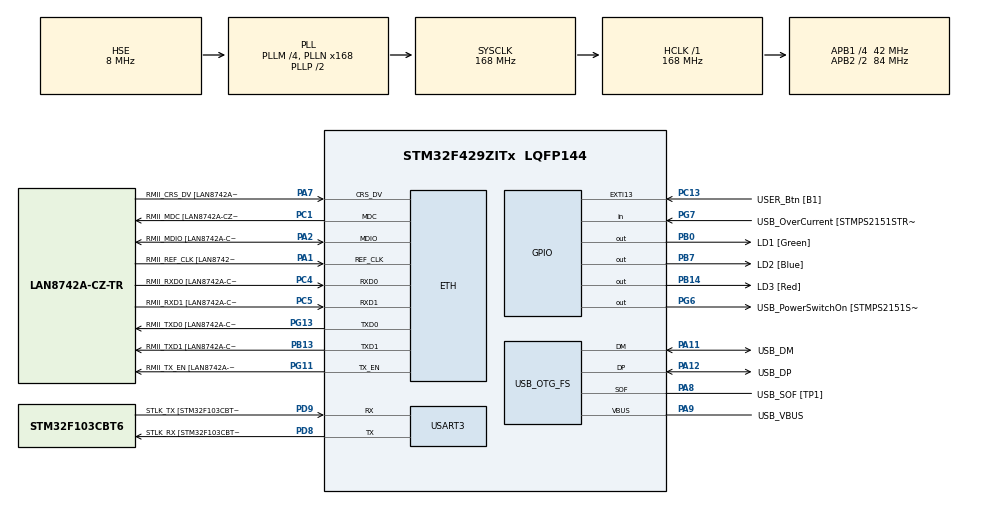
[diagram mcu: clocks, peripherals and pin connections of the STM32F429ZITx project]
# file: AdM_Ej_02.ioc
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ETH.MediaInterface=HAL_ETH_RMII_MODE
ETH.PHY_Name=LAN8742A_PHY_ADDRESS
ETH.PHY_Value=0
ETH.PhyAddress=0
Mcu.Family=STM32F4
Mcu.Name=STM32F429ZITx
Mcu.Package=LQFP144
NVIC.PriorityGroup=NVIC_PRIORITYGROUP_4
PA1.GPIO_Label=RMII_REF_CLK [LAN8742A-CZ-TR_REFCLK0]
PA1.Mode=RMII
PA1.Signal=ETH_REF_CLK
PA10.GPIO_Label=USB_ID
PA10.Signal=USB_OTG_FS_ID
PA11.GPIO_Label=USB_DM
PA11.Mode=Device_Only
PA11.Signal=USB_OTG_FS_DM
PA12.GPIO_Label=USB_DP
PA12.Mode=Device_Only
PA12.Signal=USB_OTG_FS_DP
PA13.GPIO_Label=TMS
PA13.Mode=Serial_Wire
PA13.Signal=SYS_JTMS-SWDIO
PA14.GPIO_Label=TCK
PA14.Mode=Serial_Wire
PA14.Signal=SYS_JTCK-SWCLK
PA2.GPIO_Label=RMII_MDIO [LAN8742A-CZ-TR_MDIO]
PA2.Mode=RMII
PA2.Signal=ETH_MDIO
PA7.GPIO_Label=RMII_CRS_DV [LAN8742A-CZ-TR_CRS_DV]
PA7.Mode=RMII
PA7.Signal=ETH_CRS_DV
PA8.GPIO_Label=USB_SOF [TP1]
PA8.Mode=Activate_SOF_FS
PA8.Signal=USB_OTG_FS_SOF
PA9.GPIO_Label=USB_VBUS
PA9.Mode=Activate_VBUS
PA9.Signal=USB_OTG_FS_VBUS
PB0.GPIO_Label=LD1 [Green]
PB0.Signal=GPIO_Output
PB13.GPIO_Label=RMII_TXD1 [LAN8742A-CZ-TR_TXD1]
PB13.Mode=RMII
PB13.Signal=ETH_TXD1
PB14.GPIO_Label=LD3 [Red]
PB14.Signal=GPIO_Output
PB7.GPIO_Label=LD2 [Blue]
PB7.Signal=GPIO_Output
PC1.GPIO_Label=RMII_MDC [LAN8742A-CZ-TR_MDC]
PC1.Mode=RMII
PC1.Signal=ETH_MDC
PC13.GPIO_Label=USER_Btn [B1]
PC13.Signal=GPXTI13
PC14/OSC32_IN.Mode=LSE-External-Oscillator
PC14/OSC32_IN.Signal=RCC_OSC32_IN
PC15/OSC32_OUT.Mode=LSE-External-Oscillator
PC15/OSC32_OUT.Signal=RCC_OSC32_OUT
PC4.GPIO_Label=RMII_RXD0 [LAN8742A-CZ-TR_RXD0]
PC4.Mode=RMII
PC4.Signal=ETH_RXD0
PC5.GPIO_Label=RMII_RXD1 [LAN8742A-CZ-TR_RXD1]
PC5.Mode=RMII
PC5.Signal=ETH_RXD1
PD8.GPIO_Label=STLK_RX [STM32F103CBT6_PA3]
PD8.Mode=Asynchronous
PD8.Signal=USART3_TX
PD9.GPIO_Label=STLK_TX [STM32F103CBT6_PA2]
PD9.Mode=Asynchronous
PD9.Signal=USART3_RX
PG11.GPIO_Label=RMII_TX_EN [LAN8742A-CZ-TR_TXEN]
PG11.Mode=RMII
PG11.Signal=ETH_TX_EN
PG13.GPIO_Label=RMII_TXD0 [LAN8742A-CZ-TR_TXD0]
PG13.Mode=RMII
PG13.Signal=ETH_TXD0
PG6.GPIO_Label=USB_PowerSwitchOn [STMPS2151STR_EN]
PG6.Signal=GPIO_Output
PG7.GPIO_Label=USB_OverCurrent [STMPS2151STR_FAULT]
PG7.Signal=GPIO_Input
PH0/OSC_IN.GPIO_Label=MCO [STM32F103CBT6_PA8]
PH0/OSC_IN.Mode=HSE-External-Clock-Source
PH0/OSC_IN.Signal=RCC_OSC_IN
PH1/OSC_OUT.Mode=HSE-External-Clock-Source
PH1/OSC_OUT.Signal=RCC_OSC_OUT
ProjectManager.HeapSize=0x200
ProjectManager.StackSize=0x400
ProjectManager.TargetToolchain=STM32CubeIDE
RCC.48MHZClocksFreq_Value=48000000
RCC.AHBFreq_Value=168000000
RCC.APB1CLKDivider=RCC_HCLK_DIV4
RCC.APB1Freq_Value=42000000
RCC.APB1TimFreq_Value=84000000
RCC.APB2CLKDivider=RCC_HCLK_DIV2
RCC.APB2Freq_Value=84000000
RCC.APB2TimCLKDivider=2
RCC.APB2TimFreq_Value=168000000
RCC.CortexFreq_Value=168000000
RCC.HCLKFreq_Value=168000000
RCC.HSE_VALUE=8000000
RCC.HSI_VALUE=16000000
RCC.PLLM=4
RCC.PLLMUL=RCC_PLL_MUL9
RCC.PLLN=168
RCC.PLLQ=7
RCC.PRESCALERUSB=RCC_USBCLKSOURCE_PLL_DIV1_5
RCC.SYSCLKFreq_VALUE=168000000
RCC.SYSCLKSource=RCC_SYSCLKSOURCE_PLLCLK
RCC.SYSCLKSourceVirtual=RCC_SYSCLKSOURCE_PLLCLK
RCC.USBFreq_Value=48000000
RCC.VCOOutputFreq_Value=336000000
USART3.VirtualMode=VM_ASYNC
USB_OTG_FS.VirtualMode=Device_Only
board=NUCLEO-F429ZI

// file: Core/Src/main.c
/* USER CODE BEGIN Header */
/**
  ******************************************************************************
  * @file           : main.c
  * @brief          : Main program body
  ******************************************************************************
  * @attention
  *
  * Copyright (c) 2023 STMicroelectronics.
  * All rights reserved.
  *
  * This software is licensed under terms that can be found in the LICENSE file
  * in the root directory of this software component.
  * If no LICENSE file comes with this software, it is provided AS-IS.
  *
  ******************************************************************************
  */
/* USER CODE END Header */
#include "main.h"

/* USER CODE BEGIN Includes */
#include "string.h"
#include "stdio.h"
#include "errno.h"
#include "stdlib.h"
#include "unistd.h"
#include "asm_func.h"
/* USER CODE END Includes */

ETH_TxPacketConfig TxConfig;
ETH_DMADescTypeDef  DMARxDscrTab[ETH_RX_DESC_CNT]; /* Ethernet Rx DMA Descriptors */
ETH_DMADescTypeDef  DMATxDscrTab[ETH_TX_DESC_CNT]; /* Ethernet Tx DMA Descriptors */

ETH_HandleTypeDef heth;

UART_HandleTypeDef huart3;

PCD_HandleTypeDef hpcd_USB_OTG_FS;

void SystemClock_Config(void);
static void MX_GPIO_Init(void);
static void MX_ETH_Init(void);
static void MX_USART3_UART_Init(void);
static void MX_USB_OTG_FS_PCD_Init(void);
/* USER CODE BEGIN PFP */
void productoEscalar32(uint32_t * vectorIn, uint32_t * vectorOut, uint32_t longitud, uint32_t escalar);
/* USER CODE END PFP */

/* USER CODE BEGIN 0 */

int _write(int file, char *data, int len)
{
   if ((file != STDOUT_FILENO) && (file != STDERR_FILENO))
   {
      errno = EBADF;
      return -1;
   }

   // arbitrary timeout 1000
   HAL_StatusTypeDef status =
      HAL_UART_Transmit(&huart3, (uint8_t*)data, len, 1000);

   // return # of bytes written - as best we can tell
   return (status == HAL_OK ? len : 0);
}

/* USER CODE END 0 */

int main(void)
{

  /* MCU Configuration--------------------------------------------------------*/

  /* Reset of all peripherals, Initializes the Flash interface and the Systick. */
  HAL_Init();

  /* Configure the system clock */
  SystemClock_Config();

  /* Initialize all configured peripherals */
  MX_GPIO_Init();
  MX_ETH_Init();
  MX_USART3_UART_Init();
  MX_USB_OTG_FS_PCD_Init();

  /* Infinite loop */
  /* USER CODE BEGIN WHILE */
  while (1)
  {
	 uint32_t vector [8]= {23450, 4567, 45, 98759, 650000, 34567, 9865, 115200};
	 uint32_t escalar = 23;
	 uint32_t longitud = 8;
	 uint32_t output[8];
	 productoEscalar32(vector, output, longitud, escalar);
	 printf("\r\n");
	 for(int i=0; i<longitud; i++){
		 printf("%ld * %ld = %ld\n\r", vector[i], escalar, output[i]);
	 }

	 // Misma funcion en assembly
	 asm_prodEsc32(vector, output, longitud, escalar);
	 printf("\r\n");
	 for(int i=0; i<longitud; i++){
		 printf("%ld * %ld = %ld\n\r", vector[i], escalar, output[i]);
	 }

	 while(1);
	  /* USER CODE END WHILE */

  }
}

void SystemClock_Config(void)
{
  RCC_OscInitTypeDef RCC_OscInitStruct = {0};
  RCC_ClkInitTypeDef RCC_ClkInitStruct = {0};

  /** Configure the main internal regulator output voltage
  */
  __HAL_RCC_PWR_CLK_ENABLE();
  __HAL_PWR_VOLTAGESCALING_CONFIG(PWR_REGULATOR_VOLTAGE_SCALE1);

  /** Initializes the RCC Oscillators according to the specified parameters
  * in the RCC_OscInitTypeDef structure.
  */
  RCC_OscInitStruct.OscillatorType = RCC_OSCILLATORTYPE_HSE;
  RCC_OscInitStruct.HSEState = RCC_HSE_BYPASS;
  RCC_OscInitStruct.PLL.PLLState = RCC_PLL_ON;
  RCC_OscInitStruct.PLL.PLLSource = RCC_PLLSOURCE_HSE;
  RCC_OscInitStruct.PLL.PLLM = 4;
  RCC_OscInitStruct.PLL.PLLN = 168;
  RCC_OscInitStruct.PLL.PLLP = RCC_PLLP_DIV2;
  RCC_OscInitStruct.PLL.PLLQ = 7;
  if (HAL_RCC_OscConfig(&RCC_OscInitStruct) != HAL_OK)
  {
    Error_Handler();
  }

  /** Initializes the CPU, AHB and APB buses clocks
  */
  RCC_ClkInitStruct.ClockType = RCC_CLOCKTYPE_HCLK|RCC_CLOCKTYPE_SYSCLK
                              |RCC_CLOCKTYPE_PCLK1|RCC_CLOCKTYPE_PCLK2;
  RCC_ClkInitStruct.SYSCLKSource = RCC_SYSCLKSOURCE_PLLCLK;
  RCC_ClkInitStruct.AHBCLKDivider = RCC_SYSCLK_DIV1;
  RCC_ClkInitStruct.APB1CLKDivider = RCC_HCLK_DIV4;
  RCC_ClkInitStruct.APB2CLKDivider = RCC_HCLK_DIV2;

  if (HAL_RCC_ClockConfig(&RCC_ClkInitStruct, FLASH_LATENCY_5) != HAL_OK)
  {
    Error_Handler();
  }
}

static void MX_ETH_Init(void)
{

   static uint8_t MACAddr[6];

  heth.Instance = ETH;
  MACAddr[0] = 0x00;
  MACAddr[1] = 0x80;
  MACAddr[2] = 0xE1;
  MACAddr[3] = 0x00;
  MACAddr[4] = 0x00;
  MACAddr[5] = 0x00;
  heth.Init.MACAddr = &MACAddr[0];
  heth.Init.MediaInterface = HAL_ETH_RMII_MODE;
  heth.Init.TxDesc = DMATxDscrTab;
  heth.Init.RxDesc = DMARxDscrTab;
  heth.Init.RxBuffLen = 1524;

  if (HAL_ETH_Init(&heth) != HAL_OK)
  {
    Error_Handler();
  }

  memset(&TxConfig, 0 , sizeof(ETH_TxPacketConfig));
  TxConfig.Attributes = ETH_TX_PACKETS_FEATURES_CSUM | ETH_TX_PACKETS_FEATURES_CRCPAD;
  TxConfig.ChecksumCtrl = ETH_CHECKSUM_IPHDR_PAYLOAD_INSERT_PHDR_CALC;
  TxConfig.CRCPadCtrl = ETH_CRC_PAD_INSERT;

}

static void MX_USART3_UART_Init(void)
{

  huart3.Instance = USART3;
  huart3.Init.BaudRate = 115200;
  huart3.Init.WordLength = UART_WORDLENGTH_8B;
  huart3.Init.StopBits = UART_STOPBITS_1;
  huart3.Init.Parity = UART_PARITY_NONE;
  huart3.Init.Mode = UART_MODE_TX_RX;
  huart3.Init.HwFlowCtl = UART_HWCONTROL_NONE;
  huart3.Init.OverSampling = UART_OVERSAMPLING_16;
  if (HAL_UART_Init(&huart3) != HAL_OK)
  {
    Error_Handler();
  }

}

static void MX_USB_OTG_FS_PCD_Init(void)
{

  hpcd_USB_OTG_FS.Instance = USB_OTG_FS;
  hpcd_USB_OTG_FS.Init.dev_endpoints = 4;
  hpcd_USB_OTG_FS.Init.speed = PCD_SPEED_FULL;
  hpcd_USB_OTG_FS.Init.dma_enable = DISABLE;
  hpcd_USB_OTG_FS.Init.phy_itface = PCD_PHY_EMBEDDED;
  hpcd_USB_OTG_FS.Init.Sof_enable = ENABLE;
  hpcd_USB_OTG_FS.Init.low_power_enable = DISABLE;
  hpcd_USB_OTG_FS.Init.lpm_enable = DISABLE;
  hpcd_USB_OTG_FS.Init.vbus_sensing_enable = ENABLE;
  hpcd_USB_OTG_FS.Init.use_dedicated_ep1 = DISABLE;
  if (HAL_PCD_Init(&hpcd_USB_OTG_FS) != HAL_OK)
  {
    Error_Handler();
  }

}

static void MX_GPIO_Init(void)
{
  GPIO_InitTypeDef GPIO_InitStruct = {0};

  /* GPIO Ports Clock Enable */
  __HAL_RCC_GPIOC_CLK_ENABLE();
  __HAL_RCC_GPIOH_CLK_ENABLE();
  __HAL_RCC_GPIOA_CLK_ENABLE();
  __HAL_RCC_GPIOB_CLK_ENABLE();
  __HAL_RCC_GPIOD_CLK_ENABLE();
  __HAL_RCC_GPIOG_CLK_ENABLE();

  /*Configure GPIO pin Output Level */
  HAL_GPIO_WritePin(GPIOB, LD1_Pin|LD3_Pin|LD2_Pin, GPIO_PIN_RESET);

  /*Configure GPIO pin Output Level */
  HAL_GPIO_WritePin(USB_PowerSwitchOn_GPIO_Port, USB_PowerSwitchOn_Pin, GPIO_PIN_RESET);

  /*Configure GPIO pin : USER_Btn_Pin */
  GPIO_InitStruct.Pin = USER_Btn_Pin;
  GPIO_InitStruct.Mode = GPIO_MODE_IT_RISING;
  GPIO_InitStruct.Pull = GPIO_NOPULL;
  HAL_GPIO_Init(USER_Btn_GPIO_Port, &GPIO_InitStruct);

  /*Configure GPIO pins : LD1_Pin LD3_Pin LD2_Pin */
  GPIO_InitStruct.Pin = LD1_Pin|LD3_Pin|LD2_Pin;
  GPIO_InitStruct.Mode = GPIO_MODE_OUTPUT_PP;
  GPIO_InitStruct.Pull = GPIO_NOPULL;
  GPIO_InitStruct.Speed = GPIO_SPEED_FREQ_LOW;
  HAL_GPIO_Init(GPIOB, &GPIO_InitStruct);

  /*Configure GPIO pin : USB_PowerSwitchOn_Pin */
  GPIO_InitStruct.Pin = USB_PowerSwitchOn_Pin;
  GPIO_InitStruct.Mode = GPIO_MODE_OUTPUT_PP;
  GPIO_InitStruct.Pull = GPIO_NOPULL;
  GPIO_InitStruct.Speed = GPIO_SPEED_FREQ_LOW;
  HAL_GPIO_Init(USB_PowerSwitchOn_GPIO_Port, &GPIO_InitStruct);

  /*Configure GPIO pin : USB_OverCurrent_Pin */
  GPIO_InitStruct.Pin = USB_OverCurrent_Pin;
  GPIO_InitStruct.Mode = GPIO_MODE_INPUT;
  GPIO_InitStruct.Pull = GPIO_NOPULL;
  HAL_GPIO_Init(USB_OverCurrent_GPIO_Port, &GPIO_InitStruct);

}

/* USER CODE BEGIN 4 */
void productoEscalar32(uint32_t * vectorIn, uint32_t * vectorOut, uint32_t longitud, uint32_t escalar){
	for(int i=0; i<longitud; i++){
	vectorOut[i] = vectorIn[i] * escalar;
	}
}
/* USER CODE END 4 */

void Error_Handler(void)
{
  __disable_irq();
  while (1)
  {
  }
}
